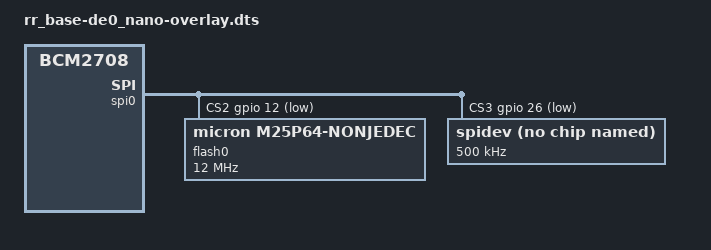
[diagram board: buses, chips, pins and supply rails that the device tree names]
// Overlay for rr_base
/dts-v1/;
/plugin/;

/ {
	compatible = "brcm,bcm2708";

	fragment@1 {
		target = <&gpio>;
		__overlay__ {
			spi0_pins: spi0_pins {
				brcm,pins = <9 10 11>;
				brcm,function = <4>; /* alt0 */
			};

			spi0_cs_pins: spi0_cs_pins {
				brcm,pins = <12 26>;
				brcm,function = <1>; /* out */
			};
		};
	};

	fragment@2 {
		target = <&spi0>;
		__overlay__ {
			/* needed to avoid dtc warning */
			#address-cells = <1>;
			#size-cells = <0>;
			compatible = "brcm,bcm2835-spi";
			pinctrl-0 = <&spi0_pins &spi0_cs_pins>;
			status = "okay";
			cs-gpios = <0>, <0>, <&gpio 12 1>, <&gpio 26 1>;

			flash0: epcs64@2{
				/* use compatible flash driver, see spi-nor.c:
				 * { "epcs64",           INFO(0, 0,  256 * 256, 128, 0) },
				 * { "m25p64-nonjedec",  INFO(0, 0,  64 * 1024, 128, 0) },
				 */
				compatible = "micron,m25p64-nonjedec", "spi-nor";
				reg = <2>; /* CE2 */
				spi-max-frequency = <12000000>;
				status = "okay";
			};

			spidev@3{
				compatible = "spidev";
				reg = <3>;   /* CE3 */
				#address-cells = <1>;
				#size-cells = <0>;
				spi-max-frequency = <500000>;
				status = "okay";
			};
		};
	};

	__overrides__ {
		mtd_speed = <&flash0>, "spi-max-frequency:0"; /* 32 bit integer parameter */
	};
};
